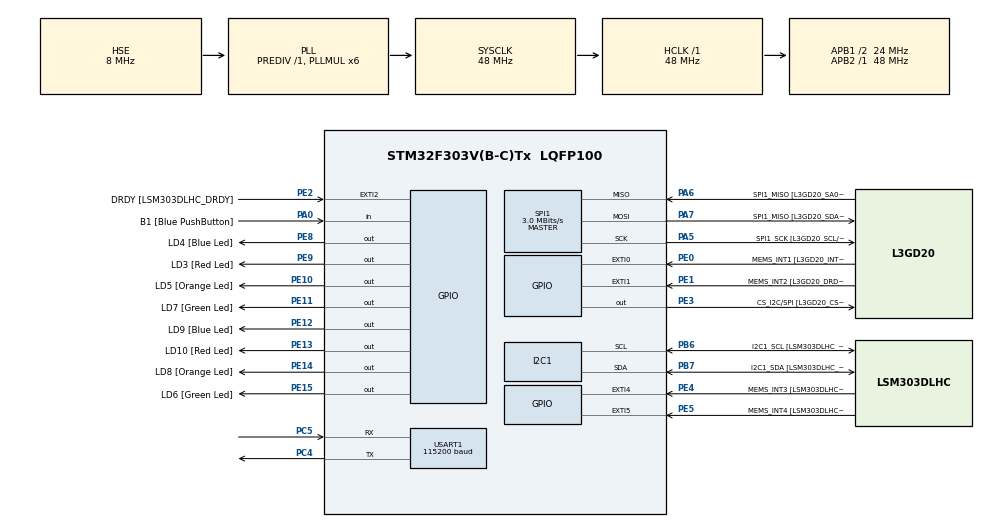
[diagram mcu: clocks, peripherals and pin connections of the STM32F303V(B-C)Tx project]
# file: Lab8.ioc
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I2C1.Timing=0x2000090E
I2C1.Timing-I2C=0x2000090E
Mcu.Family=STM32F3
Mcu.Name=STM32F303V(B-C)Tx
Mcu.Package=LQFP100
NVIC.PriorityGroup=NVIC_PRIORITYGROUP_0
NVIC.SPI1_IRQn=true\:0\:0\:false\:false\:true\:true\:true\:true
PA0.GPIO_Label=B1 [Blue PushButton]
PA0.Signal=GPIO_Input
PA13.GPIO_Label=SWDIO
PA13.Mode=Serial_Wire
PA13.Signal=SYS_JTMS-SWDIO
PA14.GPIO_Label=SWCLK
PA14.Mode=Serial_Wire
PA14.Signal=SYS_JTCK-SWCLK
PA5.GPIO_Label=SPI1_SCK [L3GD20_SCL/SPC]
PA5.Mode=Full_Duplex_Master
PA5.Signal=SPI1_SCK
PA6.GPIO_Label=SPI1_MISO [L3GD20_SA0/SDO]
PA6.Mode=Full_Duplex_Master
PA6.Signal=SPI1_MISO
PA7.GPIO_Label=SPI1_MISO [L3GD20_SDA/SDI/SDO]
PA7.Mode=Full_Duplex_Master
PA7.Signal=SPI1_MOSI
PB3.GPIO_Label=SWO
PB3.Signal=SYS_JTDO-TRACESWO
PB6.GPIO_Label=I2C1_SCL [LSM303DLHC_SCL]
PB6.GPIO_Pu=GPIO_PULLUP
PB6.Mode=I2C
PB6.Signal=I2C1_SCL
PB7.GPIO_Label=I2C1_SDA [LSM303DLHC_SDA]
PB7.GPIO_Pu=GPIO_PULLUP
PB7.Mode=I2C
PB7.Signal=I2C1_SDA
PC14-OSC32_IN.GPIO_Label=OSC32_IN
PC14-OSC32_IN.Signal=RCC_OSC32_IN
PC15-OSC32_OUT.GPIO_Label=OSC32_OUT
PC15-OSC32_OUT.Signal=RCC_OSC32_OUT
PC4.Mode=Asynchronous
PC4.Signal=USART1_TX
PC5.Mode=Asynchronous
PC5.Signal=USART1_RX
PE0.GPIO_Label=MEMS_INT1 [L3GD20_INT1]
PE0.GPIO_ModeDefaultEXTI=GPIO_MODE_EVT_RISING
PE0.Signal=GPXTI0
PE1.GPIO_Label=MEMS_INT2 [L3GD20_DRDY/INT2]
PE1.GPIO_ModeDefaultEXTI=GPIO_MODE_EVT_RISING
PE1.Signal=GPXTI1
PE10.GPIO_Label=LD5 [Orange Led]
PE10.Signal=GPIO_Output
PE11.GPIO_Label=LD7 [Green Led]
PE11.Signal=GPIO_Output
PE12.GPIO_Label=LD9 [Blue Led]
PE12.Signal=GPIO_Output
PE13.GPIO_Label=LD10 [Red Led]
PE13.Signal=GPIO_Output
PE14.GPIO_Label=LD8 [Orange Led]
PE14.Signal=GPIO_Output
PE15.GPIO_Label=LD6 [Green Led]
PE15.Signal=GPIO_Output
PE2.GPIO_Label=DRDY [LSM303DLHC_DRDY]
PE2.GPIO_ModeDefaultEXTI=GPIO_MODE_EVT_RISING
PE2.Signal=GPXTI2
PE3.GPIO_Label=CS_I2C/SPI [L3GD20_CS_I2C/SPI]
PE3.Signal=GPIO_Output
PE4.GPIO_Label=MEMS_INT3 [LSM303DLHC_INT1]
PE4.GPIO_ModeDefaultEXTI=GPIO_MODE_EVT_RISING
PE4.Signal=GPXTI4
PE5.GPIO_Label=MEMS_INT4 [LSM303DLHC_INT2]
PE5.GPIO_ModeDefaultEXTI=GPIO_MODE_EVT_RISING
PE5.Signal=GPXTI5
PE8.GPIO_Label=LD4 [Blue Led]
PE8.Signal=GPIO_Output
PE9.GPIO_Label=LD3 [Red Led]
PE9.Signal=GPIO_Output
PF0-OSC_IN.GPIO_Label=OSC_IN
PF0-OSC_IN.Mode=HSE-External-Clock-Source
PF0-OSC_IN.Signal=RCC_OSC_IN
PF1-OSC_OUT.GPIO_Label=OSC_OUT
PF1-OSC_OUT.Signal=RCC_OSC_OUT
ProjectManager.HeapSize=0x200
ProjectManager.StackSize=0x400
ProjectManager.TargetToolchain=CMake
RCC.AHBFreq_Value=48000000
RCC.APB1CLKDivider=RCC_HCLK_DIV2
RCC.APB1Freq_Value=24000000
RCC.APB1TimFreq_Value=48000000
RCC.APB2Freq_Value=48000000
RCC.APB2TimFreq_Value=48000000
RCC.CortexFreq_Value=48000000
RCC.HCLKFreq_Value=48000000
RCC.HSE_VALUE=8000000
RCC.HSI_VALUE=8000000
RCC.LSE_VALUE=32768
RCC.PLLMUL=RCC_PLL_MUL6
RCC.PLLSourceVirtual=RCC_PLLSOURCE_HSE
RCC.SYSCLKFreq_VALUE=48000000
RCC.SYSCLKSourceVirtual=RCC_SYSCLKSOURCE_PLLCLK
RCC.USBFreq_Value=48000000
SPI1.BaudRatePrescaler=SPI_BAUDRATEPRESCALER_16
SPI1.BaudRatePrescaler-Full_Duplex_Master=SPI_BAUDRATEPRESCALER_2
SPI1.CLKPhase=SPI_PHASE_2EDGE
SPI1.CLKPolarity=SPI_POLARITY_HIGH
SPI1.CalculateBaudRate=3.0 MBits/s
SPI1.CalculateBaudRate-Full_Duplex_Master=24.0 MBits/s
SPI1.DataSize=SPI_DATASIZE_8BIT
SPI1.Direction=SPI_DIRECTION_2LINES
SPI1.Mode=SPI_MODE_MASTER
SPI1.Mode-Full_Duplex_Master=SPI_MODE_MASTER
SPI1.VirtualType=VM_MASTER
USART1.BaudRate=115200
USART1.VirtualMode-Asynchronous=VM_ASYNC
board=STM32F3DISCOVERY

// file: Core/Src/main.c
/* USER CODE BEGIN Header */
/**
  ******************************************************************************
  * @file           : main.c
  * @brief          : Main program body
  ******************************************************************************
  * @attention
  *
  * Copyright (c) 2026 STMicroelectronics.
  * All rights reserved.
  *
  * This software is licensed under terms that can be found in the LICENSE file
  * in the root directory of this software component.
  * If no LICENSE file comes with this software, it is provided AS-IS.
  *
  ******************************************************************************
  */
/* USER CODE END Header */
#include "main.h"

/* USER CODE BEGIN Includes */
#include <stdbool.h>
#include <stdio.h>
/* USER CODE END Includes */

I2C_HandleTypeDef hi2c1;

SPI_HandleTypeDef hspi1;

UART_HandleTypeDef huart1;

/* USER CODE BEGIN PV */
static volatile uint8_t temp_raw = 0;
static volatile bool check = false;
static uint8_t temp = 0;

/* USER CODE END PV */

void SystemClock_Config(void);
static void MX_GPIO_Init(void);
static void MX_I2C1_Init(void);
static void MX_SPI1_Init(void);
static void MX_USART1_UART_Init(void);
/* USER CODE BEGIN PFP */
void gyro_init();
void start_temp_reading(void);

/* USER CODE END PFP */

/* USER CODE BEGIN 0 */
uint8_t command(uint8_t a, uint8_t b) {return a | b;}
# define CTRL_REG1 0x20
# define CTRL_REG1_VAL 0b00001111
// PD =1 ( Power on), Xen/Yen/Zen enabled
void gyro_init()
{
  uint8_t tx [2] = { CTRL_REG1 , CTRL_REG1_VAL };
  // Pull CS low to begin communication
  HAL_GPIO_WritePin (GPIOE , GPIO_PIN_3 , GPIO_PIN_RESET );
  // Send control register configuration
  HAL_SPI_Transmit (& hspi1 , tx , 2, HAL_MAX_DELAY );
  // Pull CS high to end communication
  HAL_GPIO_WritePin (GPIOE , GPIO_PIN_3 , GPIO_PIN_SET );
}

void start_temp_reading(void)
{
  if (check) return;
  check = true;
  HAL_GPIO_WritePin(GPIOE, GPIO_PIN_3, GPIO_PIN_RESET);
  temp = command(0x80, 0x26);
  if (HAL_SPI_Transmit_IT(&hspi1, &temp, 1) != HAL_OK)
  {
    check = false;
    HAL_GPIO_WritePin(GPIOE, GPIO_PIN_3, GPIO_PIN_SET);
  }
}

void HAL_SPI_RxCpltCallback(SPI_HandleTypeDef *hspi)
{
  HAL_GPIO_WritePin(GPIOE, GPIO_PIN_3, GPIO_PIN_SET);
  check = false;
  char msg[16];
  int temp_display = -((int8_t)temp_raw) + 43;
  int n = snprintf(msg, sizeof(msg), "%d\r\n", temp_display);
  HAL_UART_Transmit(&huart1, (uint8_t*)msg, n, HAL_MAX_DELAY);
}

void HAL_SPI_TxCpltCallback(SPI_HandleTypeDef *hspi)
{
  HAL_SPI_Receive_IT(&hspi1, (uint8_t*)&temp_raw, 1);
}

/* USER CODE END 0 */

int main(void)
{

  /* MCU Configuration--------------------------------------------------------*/

  /* Reset of all peripherals, Initializes the Flash interface and the Systick. */
  HAL_Init();

  /* Configure the system clock */
  SystemClock_Config();

  /* Initialize all configured peripherals */
  MX_GPIO_Init();
  MX_I2C1_Init();
  MX_SPI1_Init();
  MX_USART1_UART_Init();
  /* USER CODE BEGIN 2 */
  gyro_init();
  /* USER CODE END 2 */

  /* Infinite loop */
  while (1)
  {
  HAL_Delay(150);
  start_temp_reading();
  }

  }

void SystemClock_Config(void)
{
  RCC_OscInitTypeDef RCC_OscInitStruct = {0};
  RCC_ClkInitTypeDef RCC_ClkInitStruct = {0};
  RCC_PeriphCLKInitTypeDef PeriphClkInit = {0};

  /** Initializes the RCC Oscillators according to the specified parameters
  * in the RCC_OscInitTypeDef structure.
  */
  RCC_OscInitStruct.OscillatorType = RCC_OSCILLATORTYPE_HSI|RCC_OSCILLATORTYPE_HSE;
  RCC_OscInitStruct.HSEState = RCC_HSE_BYPASS;
  RCC_OscInitStruct.HSEPredivValue = RCC_HSE_PREDIV_DIV1;
  RCC_OscInitStruct.HSIState = RCC_HSI_ON;
  RCC_OscInitStruct.HSICalibrationValue = RCC_HSICALIBRATION_DEFAULT;
  RCC_OscInitStruct.PLL.PLLState = RCC_PLL_ON;
  RCC_OscInitStruct.PLL.PLLSource = RCC_PLLSOURCE_HSE;
  RCC_OscInitStruct.PLL.PLLMUL = RCC_PLL_MUL6;
  if (HAL_RCC_OscConfig(&RCC_OscInitStruct) != HAL_OK)
  {
    Error_Handler();
  }

  /** Initializes the CPU, AHB and APB buses clocks
  */
  RCC_ClkInitStruct.ClockType = RCC_CLOCKTYPE_HCLK|RCC_CLOCKTYPE_SYSCLK
                              |RCC_CLOCKTYPE_PCLK1|RCC_CLOCKTYPE_PCLK2;
  RCC_ClkInitStruct.SYSCLKSource = RCC_SYSCLKSOURCE_PLLCLK;
  RCC_ClkInitStruct.AHBCLKDivider = RCC_SYSCLK_DIV1;
  RCC_ClkInitStruct.APB1CLKDivider = RCC_HCLK_DIV2;
  RCC_ClkInitStruct.APB2CLKDivider = RCC_HCLK_DIV1;

  if (HAL_RCC_ClockConfig(&RCC_ClkInitStruct, FLASH_LATENCY_1) != HAL_OK)
  {
    Error_Handler();
  }
  PeriphClkInit.PeriphClockSelection = RCC_PERIPHCLK_USART1|RCC_PERIPHCLK_I2C1;
  PeriphClkInit.Usart1ClockSelection = RCC_USART1CLKSOURCE_PCLK2;
  PeriphClkInit.I2c1ClockSelection = RCC_I2C1CLKSOURCE_HSI;
  if (HAL_RCCEx_PeriphCLKConfig(&PeriphClkInit) != HAL_OK)
  {
    Error_Handler();
  }
}

static void MX_I2C1_Init(void)
{

  hi2c1.Instance = I2C1;
  hi2c1.Init.Timing = 0x2000090E;
  hi2c1.Init.OwnAddress1 = 0;
  hi2c1.Init.AddressingMode = I2C_ADDRESSINGMODE_7BIT;
  hi2c1.Init.DualAddressMode = I2C_DUALADDRESS_DISABLE;
  hi2c1.Init.OwnAddress2 = 0;
  hi2c1.Init.OwnAddress2Masks = I2C_OA2_NOMASK;
  hi2c1.Init.GeneralCallMode = I2C_GENERALCALL_DISABLE;
  hi2c1.Init.NoStretchMode = I2C_NOSTRETCH_DISABLE;
  if (HAL_I2C_Init(&hi2c1) != HAL_OK)
  {
    Error_Handler();
  }

  /** Configure Analogue filter
  */
  if (HAL_I2CEx_ConfigAnalogFilter(&hi2c1, I2C_ANALOGFILTER_ENABLE) != HAL_OK)
  {
    Error_Handler();
  }

  /** Configure Digital filter
  */
  if (HAL_I2CEx_ConfigDigitalFilter(&hi2c1, 0) != HAL_OK)
  {
    Error_Handler();
  }

}

static void MX_SPI1_Init(void)
{

  /* SPI1 parameter configuration*/
  hspi1.Instance = SPI1;
  hspi1.Init.Mode = SPI_MODE_MASTER;
  hspi1.Init.Direction = SPI_DIRECTION_2LINES;
  hspi1.Init.DataSize = SPI_DATASIZE_8BIT;
  hspi1.Init.CLKPolarity = SPI_POLARITY_HIGH;
  hspi1.Init.CLKPhase = SPI_PHASE_2EDGE;
  hspi1.Init.NSS = SPI_NSS_SOFT;
  hspi1.Init.BaudRatePrescaler = SPI_BAUDRATEPRESCALER_16;
  hspi1.Init.FirstBit = SPI_FIRSTBIT_MSB;
  hspi1.Init.TIMode = SPI_TIMODE_DISABLE;
  hspi1.Init.CRCCalculation = SPI_CRCCALCULATION_DISABLE;
  hspi1.Init.CRCPolynomial = 7;
  hspi1.Init.CRCLength = SPI_CRC_LENGTH_DATASIZE;
  hspi1.Init.NSSPMode = SPI_NSS_PULSE_DISABLE;
  if (HAL_SPI_Init(&hspi1) != HAL_OK)
  {
    Error_Handler();
  }

}

static void MX_USART1_UART_Init(void)
{

  huart1.Instance = USART1;
  huart1.Init.BaudRate = 115200;
  huart1.Init.WordLength = UART_WORDLENGTH_8B;
  huart1.Init.StopBits = UART_STOPBITS_1;
  huart1.Init.Parity = UART_PARITY_NONE;
  huart1.Init.Mode = UART_MODE_TX_RX;
  huart1.Init.HwFlowCtl = UART_HWCONTROL_NONE;
  huart1.Init.OverSampling = UART_OVERSAMPLING_16;
  huart1.Init.OneBitSampling = UART_ONE_BIT_SAMPLE_DISABLE;
  huart1.AdvancedInit.AdvFeatureInit = UART_ADVFEATURE_NO_INIT;
  if (HAL_UART_Init(&huart1) != HAL_OK)
  {
    Error_Handler();
  }

}

static void MX_GPIO_Init(void)
{
  GPIO_InitTypeDef GPIO_InitStruct = {0};

  /* GPIO Ports Clock Enable */
  __HAL_RCC_GPIOE_CLK_ENABLE();
  __HAL_RCC_GPIOC_CLK_ENABLE();
  __HAL_RCC_GPIOF_CLK_ENABLE();
  __HAL_RCC_GPIOA_CLK_ENABLE();
  __HAL_RCC_GPIOB_CLK_ENABLE();

  /*Configure GPIO pin Output Level */
  HAL_GPIO_WritePin(GPIOE, CS_I2C_SPI_Pin|LD4_Pin|LD3_Pin|LD5_Pin
                          |LD7_Pin|LD9_Pin|LD10_Pin|LD8_Pin
                          |LD6_Pin, GPIO_PIN_RESET);

  /*Configure GPIO pins : DRDY_Pin MEMS_INT3_Pin MEMS_INT4_Pin MEMS_INT1_Pin
                           MEMS_INT2_Pin */
  GPIO_InitStruct.Pin = DRDY_Pin|MEMS_INT3_Pin|MEMS_INT4_Pin|MEMS_INT1_Pin
                          |MEMS_INT2_Pin;
  GPIO_InitStruct.Mode = GPIO_MODE_EVT_RISING;
  GPIO_InitStruct.Pull = GPIO_NOPULL;
  HAL_GPIO_Init(GPIOE, &GPIO_InitStruct);

  /*Configure GPIO pins : CS_I2C_SPI_Pin LD4_Pin LD3_Pin LD5_Pin
                           LD7_Pin LD9_Pin LD10_Pin LD8_Pin
                           LD6_Pin */
  GPIO_InitStruct.Pin = CS_I2C_SPI_Pin|LD4_Pin|LD3_Pin|LD5_Pin
                          |LD7_Pin|LD9_Pin|LD10_Pin|LD8_Pin
                          |LD6_Pin;
  GPIO_InitStruct.Mode = GPIO_MODE_OUTPUT_PP;
  GPIO_InitStruct.Pull = GPIO_NOPULL;
  GPIO_InitStruct.Speed = GPIO_SPEED_FREQ_LOW;
  HAL_GPIO_Init(GPIOE, &GPIO_InitStruct);

  /*Configure GPIO pin : B1_Pin */
  GPIO_InitStruct.Pin = B1_Pin;
  GPIO_InitStruct.Mode = GPIO_MODE_INPUT;
  GPIO_InitStruct.Pull = GPIO_NOPULL;
  HAL_GPIO_Init(B1_GPIO_Port, &GPIO_InitStruct);

}

void Error_Handler(void)
{
  __disable_irq();
  while (1)
  {
  }
}
